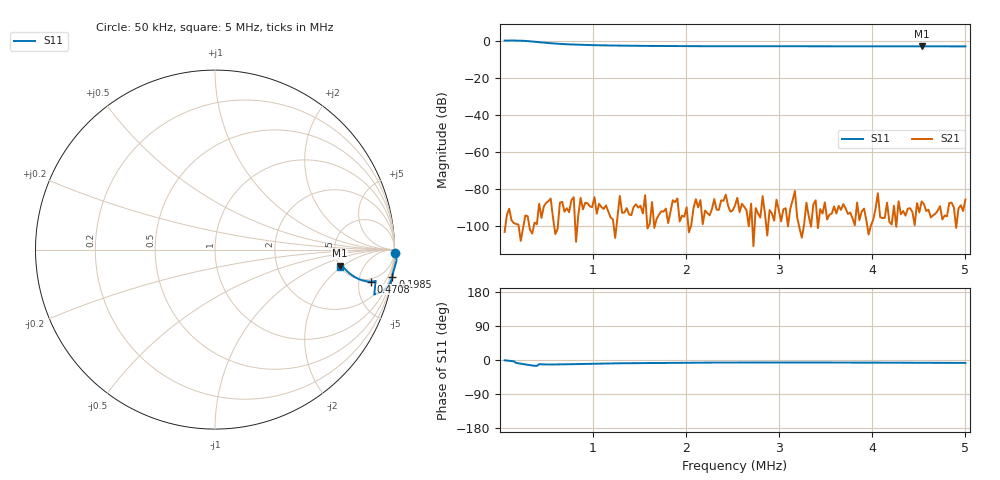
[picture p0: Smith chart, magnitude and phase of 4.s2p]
! NanoVNA-App by OneOfEleven et al v1.1.209 (+OD15)
! Date: 2024-07-30 12:37:11
! Start: 50kHz Stop: 5MHz Points: 201
! S-Parameter data: F S11 S21 S12 S22
# Hz S RI R 50
!  Frequency  S11_Real  S11_Imag  S21_Real  S21_Imag  S12_Real  S12_Imag  S22_Real  S22_Imag
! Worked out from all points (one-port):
!   201 points, 50 kHz to 5 MHz, reference 50 ohm
!   lowest |S11| = -3.1 dB at 4.53 MHz (marker M1), VSWR 5.69, Z = 252 - j88.4 ohm
!   |S11| at or under -10 dB: nowhere
!   S11 on the Smith chart (normalised r, x): 50 kHz: open; 198.5 kHz: 0, -13; 470.8 kHz: 4.36, -7.24; 5 MHz: 4.99, -1.85
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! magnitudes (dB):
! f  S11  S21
! 50 kHz  0.0  -103.0
! 74.75 kHz  0.0  -93.7
! 149 kHz  0.1  -98.2
! 173.8 kHz  0.0  -98.7
! 198.5 kHz  0.0  -99.0
! 248 kHz  -0.1  -101.0
! 297.5 kHz  -0.2  -94.5
! 470.8 kHz  -1.1  -89.3
! 569.8 kHz  -1.5  -95.2
! 644 kHz  -1.7  -87.2
! 767.8 kHz  -2.0  -85.8
! 891.5 kHz  -2.3  -90.8
! 1.089 MHz  -2.5  -89.5
! 1.238 MHz  -2.6  -106.2
! 1.486 MHz  -2.8  -89.9
! 1.708 MHz  -2.9  -93.7
! 2.055 MHz  -3.0  -99.4
! 2.525 MHz  -3.0  -88.7
! 3.366 MHz  -3.1  -88.1
! 4.183 MHz  -3.1  -97.6
! 4.53 MHz  -3.1  -86.6
! 5 MHz  -3.1  -85.5
